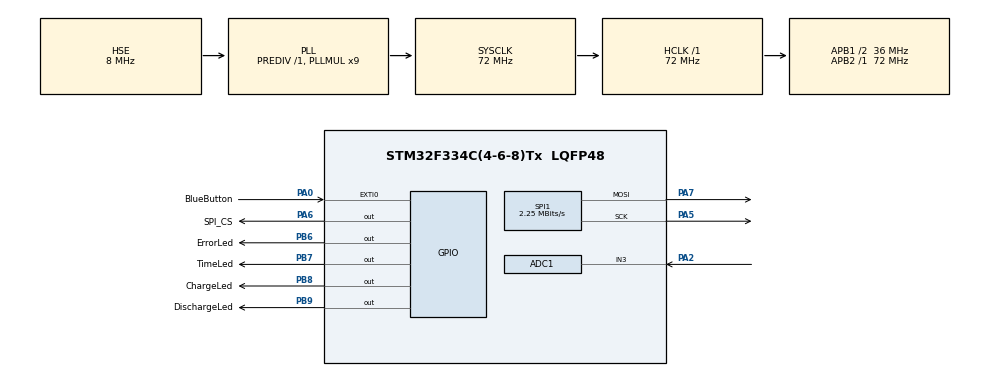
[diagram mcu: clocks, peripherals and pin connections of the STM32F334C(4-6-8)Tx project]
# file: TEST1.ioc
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ADC1.Channel-0\#ChannelRegularConversion=ADC_CHANNEL_3
ADC1.ClockPrescaler=ADC_CLOCK_ASYNC_DIV1
ADC1.ContinuousConvMode=ENABLE
ADC1.DMAContinuousRequests=DISABLE
ADC1.DataAlign=ADC_DATAALIGN_RIGHT
ADC1.DiscontinuousConvMode=DISABLE
ADC1.EOCSelection=ADC_EOC_SINGLE_CONV
ADC1.EnableAnalogWatchDog1=false
ADC1.EnableAnalogWatchDog2=false
ADC1.EnableAnalogWatchDog3=false
ADC1.EnableInjectedConversion=ENABLE
ADC1.EnableRegularConversion=ENABLE
ADC1.ExternalTrigConv=ADC_SOFTWARE_START
ADC1.ExternalTrigConvEdge=ADC_EXTERNALTRIGCONVEDGE_NONE
ADC1.InjNumberOfConversion=0
ADC1.LowPowerAutoWait=DISABLE
ADC1.NbrOfConversion=1
ADC1.NbrOfConversionFlag=1
ADC1.Offset-0\#ChannelRegularConversion=0
ADC1.OffsetNumber-0\#ChannelRegularConversion=ADC_OFFSET_NONE
ADC1.Overrun=ADC_OVR_DATA_OVERWRITTEN
ADC1.Rank-0\#ChannelRegularConversion=1
ADC1.Resolution=ADC_RESOLUTION_12B
ADC1.SamplingTime-0\#ChannelRegularConversion=ADC_SAMPLETIME_1CYCLE_5
ADC1.ScanConvMode=ADC_SCAN_DISABLE
ADC1.SubFamily=STM32F334x8
ADC1.master=1
Mcu.Family=STM32F3
Mcu.Name=STM32F334C(4-6-8)Tx
Mcu.Package=LQFP48
NVIC.PriorityGroup=NVIC_PRIORITYGROUP_2
PA0.GPIO_Label=BlueButton
PA0.GPIO_ModeDefaultEXTI=GPIO_MODE_IT_RISING
PA0.GPIO_PuPd=GPIO_NOPULL
PA0.Signal=GPXTI0
PA10.GPIO_Mode=GPIO_MODE_AF_PP
PA10.GPIO_ModeDefaultPP=GPIO_MODE_AF_PP
PA10.GPIO_PuPd=GPIO_NOPULL
PA10.GPIO_Speed=GPIO_SPEED_FREQ_LOW
PA10.GPIO_Speed_High_Default=GPIO_SPEED_FREQ_HIGH
PA10.Signal=HRTIM1_CHB1
PA11.GPIO_Mode=GPIO_MODE_AF_PP
PA11.GPIO_ModeDefaultPP=GPIO_MODE_AF_PP
PA11.GPIO_PuPd=GPIO_NOPULL
PA11.GPIO_Speed=GPIO_SPEED_FREQ_LOW
PA11.GPIO_Speed_High_Default=GPIO_SPEED_FREQ_HIGH
PA11.Signal=HRTIM1_CHB2
PA13.Mode=Serial_Wire
PA13.Signal=SYS_JTMS-SWDIO
PA14.Mode=Serial_Wire
PA14.Signal=SYS_JTCK-SWCLK
PA2.Mode=IN3-Single-Ended
PA2.Signal=ADC1_IN3
PA3.GPIO_Mode=GPIO_MODE_ANALOG
PA3.GPIO_PuPd=GPIO_NOPULL
PA3.Signal=ADC1_IN4
PA5.Mode=TX_Only_Simplex_Unidirect_Master
PA5.Signal=SPI1_SCK
PA6.GPIO_Label=SPI_CS
PA6.GPIO_PuPd=GPIO_PULLUP
PA6.Signal=GPIO_Output
PA7.Mode=TX_Only_Simplex_Unidirect_Master
PA7.Signal=SPI1_MOSI
PA8.GPIO_Mode=GPIO_MODE_AF_PP
PA8.GPIO_ModeDefaultPP=GPIO_MODE_AF_PP
PA8.GPIO_PuPd=GPIO_NOPULL
PA8.GPIO_Speed=GPIO_SPEED_FREQ_LOW
PA8.GPIO_Speed_High_Default=GPIO_SPEED_FREQ_HIGH
PA8.Signal=HRTIM1_CHA1
PA9.GPIO_Mode=GPIO_MODE_AF_PP
PA9.GPIO_ModeDefaultPP=GPIO_MODE_AF_PP
PA9.GPIO_PuPd=GPIO_NOPULL
PA9.GPIO_Speed=GPIO_SPEED_FREQ_LOW
PA9.GPIO_Speed_High_Default=GPIO_SPEED_FREQ_HIGH
PA9.Signal=HRTIM1_CHA2
PB0.GPIO_Mode=GPIO_MODE_ANALOG
PB0.GPIO_PuPd=GPIO_NOPULL
PB0.Signal=ADC1_IN11
PB6.GPIO_FM6=__NULL
PB6.GPIO_Label=ErrorLed
PB6.GPIO_ModeDefaultOutputPP=GPIO_MODE_OUTPUT_PP
PB6.GPIO_PuPd=GPIO_NOPULL
PB6.GPIO_Speed=GPIO_SPEED_FREQ_LOW
PB6.PinState=GPIO_PIN_RESET
PB6.Signal=GPIO_Output
PB7.GPIO_FM7=__NULL
PB7.GPIO_Label=TimeLed
PB7.GPIO_ModeDefaultOutputPP=GPIO_MODE_OUTPUT_PP
PB7.GPIO_PuPd=GPIO_NOPULL
PB7.GPIO_Speed=GPIO_SPEED_FREQ_LOW
PB7.PinState=GPIO_PIN_RESET
PB7.Signal=GPIO_Output
PB8.GPIO_FM8=__NULL
PB8.GPIO_Label=ChargeLed
PB8.GPIO_ModeDefaultOutputPP=GPIO_MODE_OUTPUT_PP
PB8.GPIO_PuPd=GPIO_NOPULL
PB8.GPIO_Speed=GPIO_SPEED_FREQ_LOW
PB8.PinState=GPIO_PIN_RESET
PB8.Signal=GPIO_Output
PB9.GPIO_FM9=__NULL
PB9.GPIO_Label=DischargeLed
PB9.GPIO_ModeDefaultOutputPP=GPIO_MODE_OUTPUT_PP
PB9.GPIO_PuPd=GPIO_NOPULL
PB9.GPIO_Speed=GPIO_SPEED_FREQ_LOW
PB9.PinState=GPIO_PIN_RESET
PB9.Signal=GPIO_Output
PF0\ /\ OSC_IN.Mode=HSE-External-Oscillator
PF0\ /\ OSC_IN.Signal=RCC_OSC_IN
PF1\ /\ OSC_OUT.Mode=HSE-External-Oscillator
PF1\ /\ OSC_OUT.Signal=RCC_OSC_OUT
ProjectManager.HeapSize=0x200
ProjectManager.StackSize=0x400
ProjectManager.TargetToolchain=EWARM V7
RCC.AHBFreq_Value=72000000
RCC.APB1CLKDivider=RCC_HCLK_DIV2
RCC.APB1Freq_Value=36000000
RCC.APB1TimFreq_Value=72000000
RCC.APB2Freq_Value=72000000
RCC.APB2TimFreq_Value=72000000
RCC.CortexFreq_Value=72000000
RCC.HCLKFreq_Value=72000000
RCC.HSE_VALUE=8000000
RCC.HSI_VALUE=8000000
RCC.LSE_VALUE=32768
RCC.PLLMUL=RCC_PLL_MUL9
RCC.PLLSourceVirtual=RCC_PLLSOURCE_HSE
RCC.SYSCLKFreq_VALUE=72000000
RCC.SYSCLKSourceVirtual=RCC_SYSCLKSOURCE_PLLCLK
SPI1.BaudRatePrescaler=SPI_BAUDRATEPRESCALER_32
SPI1.CLKPhase=SPI_PHASE_1EDGE
SPI1.CLKPolarity=SPI_POLARITY_LOW
SPI1.CRCCalculation=SPI_CRCCALCULATION_DISABLE
SPI1.CalculateBaudRate=2.25 MBits/s
SPI1.DataSize=SPI_DATASIZE_8BIT
SPI1.Direction=SPI_DIRECTION_2LINES
SPI1.FirstBit=SPI_FIRSTBIT_MSB
SPI1.Mode=SPI_MODE_MASTER
SPI1.NSSPMode=SPI_NSS_PULSE_DISABLE
SPI1.VirtualType=VM_MASTER
VP_WWDG_VS_WWDG.Mode=WWDG_Activate
WWDG.Counter=127
WWDG.Prescaler=WWDG_PRESCALER_4
WWDG.Window=127
board=32F3348DISCOVERY

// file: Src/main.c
/**
  ******************************************************************************
  * @file           : main.c
  * @brief          : Main program body
  ******************************************************************************
  ** This notice applies to any and all portions of this file
  * that are not between comment pairs USER CODE BEGIN and
  * USER CODE END. Other portions of this file, whether
  * inserted by the user or by software development tools
  * are owned by their respective copyright owners.
  *
  * COPYRIGHT(c) 2019 STMicroelectronics
  *
  * Redistribution and use in source and binary forms, with or without modification,
  * are permitted provided that the following conditions are met:
  *   1. Redistributions of source code must retain the above copyright notice,
  *      this list of conditions and the following disclaimer.
  *   2. Redistributions in binary form must reproduce the above copyright notice,
  *      this list of conditions and the following disclaimer in the documentation
  *      and/or other materials provided with the distribution.
  *   3. Neither the name of STMicroelectronics nor the names of its contributors
  *      may be used to endorse or promote products derived from this software
  *      without specific prior written permission.
  *
  * THIS SOFTWARE IS PROVIDED BY THE COPYRIGHT HOLDERS AND CONTRIBUTORS "AS IS"
  * AND ANY EXPRESS OR IMPLIED WARRANTIES, INCLUDING, BUT NOT LIMITED TO, THE
  * IMPLIED WARRANTIES OF MERCHANTABILITY AND FITNESS FOR A PARTICULAR PURPOSE ARE
  * DISCLAIMED. IN NO EVENT SHALL THE COPYRIGHT HOLDER OR CONTRIBUTORS BE LIABLE
  * FOR ANY DIRECT, INDIRECT, INCIDENTAL, SPECIAL, EXEMPLARY, OR CONSEQUENTIAL
  * DAMAGES (INCLUDING, BUT NOT LIMITED TO, PROCUREMENT OF SUBSTITUTE GOODS OR
  * SERVICES; LOSS OF USE, DATA, OR PROFITS; OR BUSINESS INTERRUPTION) HOWEVER
  * CAUSED AND ON ANY THEORY OF LIABILITY, WHETHER IN CONTRACT, STRICT LIABILITY,
  * OR TORT (INCLUDING NEGLIGENCE OR OTHERWISE) ARISING IN ANY WAY OUT OF THE USE
  * OF THIS SOFTWARE, EVEN IF ADVISED OF THE POSSIBILITY OF SUCH DAMAGE.
  *
  ******************************************************************************
  */
#include "main.h"
#include "stm32f3xx_hal.h"

/* USER CODE BEGIN Includes */
#include "stdbool.h"
// 6. Test Watchdog Timer

/* USER CODE END Includes */

ADC_HandleTypeDef hadc1;

SPI_HandleTypeDef hspi1;

WWDG_HandleTypeDef hwwdg;

/* USER CODE BEGIN PV */
/* Private variables ---------------------------------------------------------*/
/* Private variables ---------------------------------------------------------*/
uint16_t adcValue = 0;
uint32_t i = 0;
uint8_t state = 0;
bool changing = 0;
uint8_t setValue;

/* USER CODE END PV */

void SystemClock_Config(void);
static void MX_GPIO_Init(void);
static void MX_SPI1_Init(void);
static void MX_WWDG_Init(void);
static void MX_ADC1_Init(void);

/* USER CODE BEGIN PFP */
/* Private function prototypes -----------------------------------------------*/
void SetResistor(uint8_t value);
void Checking();
/* USER CODE END PFP */

/* USER CODE BEGIN 0 */

/*************************************************************/
void Checking(void){
    SetPin(ErrorLed_GPIO_Port, ErrorLed_Pin,SetLED);
    SetPin(ChargeLed_GPIO_Port, ChargeLed_Pin,SetLED);
    SetPin(DischargeLed_GPIO_Port, DischargeLed_Pin,SetLED);
    SetPin(TimeLed_GPIO_Port, TimeLed_Pin,SetLED);

    HAL_Delay(100);
    SetPin(ErrorLed_GPIO_Port, ErrorLed_Pin,ResetLED);
    SetPin(ChargeLed_GPIO_Port, ChargeLed_Pin,ResetLED);
    SetPin(DischargeLed_GPIO_Port, DischargeLed_Pin,ResetLED);
    SetPin(TimeLed_GPIO_Port, TimeLed_Pin,ResetLED);
}

void SetResistor(uint8_t resistance){
    uint8_t value = (uint8_t)(resistance*2.55);
    char data[] = {value};
    SetPin(SPI_CS_GPIO_Port, SPI_CS_Pin, ResetIO);
    while (!(SPI1->SR & SPI_SR_TXE)); // Wait while receive buffer is not empty
	//SPI1->DR = value; // Send byte to SPI

    // Test the duration of Max Delay
    // Start timer 1, count every 1us
    HAL_SPI_Transmit(&hspi1,(uint8_t *)data, 1,5);
    // Stop timer 1, then compare with HAL_Delay(1);
    //HAL_Delay(10);
    SetPin(SPI_CS_GPIO_Port, SPI_CS_Pin, SetIO);
}

/***********************************************************/
/* USER CODE END 0 */

int main(void)
{

  /* MCU Configuration----------------------------------------------------------*/

  /* Reset of all peripherals, Initializes the Flash interface and the Systick. */
  HAL_Init();

  /* Configure the system clock */
  SystemClock_Config();

  /* Initialize all configured peripherals */
  MX_GPIO_Init();
  MX_SPI1_Init();
  MX_WWDG_Init();
  MX_ADC1_Init();
  /* USER CODE BEGIN 2 */
	SetResistor(100);

	HAL_ADC_Start(&hadc1);
	//HAL_ADC_PollForConversion(&hadc1, 100);
  /* USER CODE END 2 */

  /* Infinite loop */
  /* USER CODE BEGIN WHILE */

    Checking();    // Check Vbat
    // Sometime the complier is quite stupid that we have to delete all of output files
    // And remember to update the variables of STM studio before using
    while (1){
        // Return percentage of adc channel
        adcValue = HAL_ADC_GetValue(&hadc1);
        setValue = (uint8_t)(adcValue/409.6+1);

        SetResistor(setValue);
        HAL_Delay(200);
  /* USER CODE END WHILE */

    }

}

void SystemClock_Config(void)
{

  RCC_OscInitTypeDef RCC_OscInitStruct;
  RCC_ClkInitTypeDef RCC_ClkInitStruct;
  RCC_PeriphCLKInitTypeDef PeriphClkInit;

    /**Initializes the CPU, AHB and APB busses clocks
    */
  RCC_OscInitStruct.OscillatorType = RCC_OSCILLATORTYPE_HSE;
  RCC_OscInitStruct.HSEState = RCC_HSE_ON;
  RCC_OscInitStruct.HSEPredivValue = RCC_HSE_PREDIV_DIV1;
  RCC_OscInitStruct.HSIState = RCC_HSI_ON;
  RCC_OscInitStruct.PLL.PLLState = RCC_PLL_ON;
  RCC_OscInitStruct.PLL.PLLSource = RCC_PLLSOURCE_HSE;
  RCC_OscInitStruct.PLL.PLLMUL = RCC_PLL_MUL9;
  if (HAL_RCC_OscConfig(&RCC_OscInitStruct) != HAL_OK)
  {
    _Error_Handler(__FILE__, __LINE__);
  }

    /**Initializes the CPU, AHB and APB busses clocks
    */
  RCC_ClkInitStruct.ClockType = RCC_CLOCKTYPE_HCLK|RCC_CLOCKTYPE_SYSCLK
                              |RCC_CLOCKTYPE_PCLK1|RCC_CLOCKTYPE_PCLK2;
  RCC_ClkInitStruct.SYSCLKSource = RCC_SYSCLKSOURCE_PLLCLK;
  RCC_ClkInitStruct.AHBCLKDivider = RCC_SYSCLK_DIV1;
  RCC_ClkInitStruct.APB1CLKDivider = RCC_HCLK_DIV2;
  RCC_ClkInitStruct.APB2CLKDivider = RCC_HCLK_DIV1;

  if (HAL_RCC_ClockConfig(&RCC_ClkInitStruct, FLASH_LATENCY_2) != HAL_OK)
  {
    _Error_Handler(__FILE__, __LINE__);
  }

  PeriphClkInit.PeriphClockSelection = RCC_PERIPHCLK_ADC12;
  PeriphClkInit.Adc12ClockSelection = RCC_ADC12PLLCLK_DIV1;
  if (HAL_RCCEx_PeriphCLKConfig(&PeriphClkInit) != HAL_OK)
  {
    _Error_Handler(__FILE__, __LINE__);
  }

    /**Configure the Systick interrupt time
    */
  HAL_SYSTICK_Config(HAL_RCC_GetHCLKFreq()/1000);

    /**Configure the Systick
    */
  HAL_SYSTICK_CLKSourceConfig(SYSTICK_CLKSOURCE_HCLK);

  /* SysTick_IRQn interrupt configuration */
  HAL_NVIC_SetPriority(SysTick_IRQn, 0, 0);
}

/* ADC1 init function */
static void MX_ADC1_Init(void)
{

  ADC_MultiModeTypeDef multimode;
  ADC_ChannelConfTypeDef sConfig;

    /**Common config
    */
  hadc1.Instance = ADC1;
  hadc1.Init.ClockPrescaler = ADC_CLOCK_ASYNC_DIV1;
  hadc1.Init.Resolution = ADC_RESOLUTION_12B;
  hadc1.Init.ScanConvMode = ADC_SCAN_DISABLE;
  hadc1.Init.ContinuousConvMode = ENABLE;
  hadc1.Init.DiscontinuousConvMode = DISABLE;
  hadc1.Init.ExternalTrigConvEdge = ADC_EXTERNALTRIGCONVEDGE_NONE;
  hadc1.Init.ExternalTrigConv = ADC_SOFTWARE_START;
  hadc1.Init.DataAlign = ADC_DATAALIGN_RIGHT;
  hadc1.Init.NbrOfConversion = 1;
  hadc1.Init.DMAContinuousRequests = DISABLE;
  hadc1.Init.EOCSelection = ADC_EOC_SINGLE_CONV;
  hadc1.Init.LowPowerAutoWait = DISABLE;
  hadc1.Init.Overrun = ADC_OVR_DATA_OVERWRITTEN;
  if (HAL_ADC_Init(&hadc1) != HAL_OK)
  {
    _Error_Handler(__FILE__, __LINE__);
  }

    /**Configure the ADC multi-mode
    */
  multimode.Mode = ADC_MODE_INDEPENDENT;
  if (HAL_ADCEx_MultiModeConfigChannel(&hadc1, &multimode) != HAL_OK)
  {
    _Error_Handler(__FILE__, __LINE__);
  }

    /**Configure Regular Channel
    */
  sConfig.Channel = ADC_CHANNEL_3;
  sConfig.Rank = ADC_REGULAR_RANK_1;
  sConfig.SingleDiff = ADC_SINGLE_ENDED;
  sConfig.SamplingTime = ADC_SAMPLETIME_1CYCLE_5;
  sConfig.OffsetNumber = ADC_OFFSET_NONE;
  sConfig.Offset = 0;
  if (HAL_ADC_ConfigChannel(&hadc1, &sConfig) != HAL_OK)
  {
    _Error_Handler(__FILE__, __LINE__);
  }

}

/* SPI1 init function */
static void MX_SPI1_Init(void)
{

  /* SPI1 parameter configuration*/
  hspi1.Instance = SPI1;
  hspi1.Init.Mode = SPI_MODE_MASTER;
  hspi1.Init.Direction = SPI_DIRECTION_2LINES;
  hspi1.Init.DataSize = SPI_DATASIZE_8BIT;
  hspi1.Init.CLKPolarity = SPI_POLARITY_LOW;
  hspi1.Init.CLKPhase = SPI_PHASE_1EDGE;
  hspi1.Init.NSS = SPI_NSS_SOFT;
  hspi1.Init.BaudRatePrescaler = SPI_BAUDRATEPRESCALER_32;
  hspi1.Init.FirstBit = SPI_FIRSTBIT_MSB;
  hspi1.Init.TIMode = SPI_TIMODE_DISABLE;
  hspi1.Init.CRCCalculation = SPI_CRCCALCULATION_DISABLE;
  hspi1.Init.CRCPolynomial = 7;
  hspi1.Init.CRCLength = SPI_CRC_LENGTH_DATASIZE;
  hspi1.Init.NSSPMode = SPI_NSS_PULSE_DISABLE;
  if (HAL_SPI_Init(&hspi1) != HAL_OK)
  {
    _Error_Handler(__FILE__, __LINE__);
  }

}

/* WWDG init function */
static void MX_WWDG_Init(void)
{

  hwwdg.Instance = WWDG;
  hwwdg.Init.Prescaler = WWDG_PRESCALER_4;
  hwwdg.Init.Window = 127;
  hwwdg.Init.Counter = 127;
  hwwdg.Init.EWIMode = WWDG_EWI_DISABLE;
  if (HAL_WWDG_Init(&hwwdg) != HAL_OK)
  {
    _Error_Handler(__FILE__, __LINE__);
  }

}

/** Configure pins as
        * Analog
        * Input
        * Output
        * EVENT_OUT
        * EXTI
     PA8   ------> HRTIM1_CHA1
     PA9   ------> HRTIM1_CHA2
     PA10   ------> HRTIM1_CHB1
     PA11   ------> HRTIM1_CHB2
*/
static void MX_GPIO_Init(void)
{

  GPIO_InitTypeDef GPIO_InitStruct;

  /* GPIO Ports Clock Enable */
  __HAL_RCC_GPIOF_CLK_ENABLE();
  __HAL_RCC_GPIOA_CLK_ENABLE();
  __HAL_RCC_GPIOB_CLK_ENABLE();

  /*Configure GPIO pin Output Level */
  HAL_GPIO_WritePin(SPI_CS_GPIO_Port, SPI_CS_Pin, GPIO_PIN_RESET);

  /*Configure GPIO pin Output Level */
  HAL_GPIO_WritePin(GPIOB, ErrorLed_Pin|TimeLed_Pin|ChargeLed_Pin|DischargeLed_Pin, GPIO_PIN_RESET);

  /*Configure GPIO pin : BlueButton_Pin */
  GPIO_InitStruct.Pin = BlueButton_Pin;
  GPIO_InitStruct.Mode = GPIO_MODE_IT_RISING;
  GPIO_InitStruct.Pull = GPIO_NOPULL;
  HAL_GPIO_Init(BlueButton_GPIO_Port, &GPIO_InitStruct);

  /*Configure GPIO pin : SPI_CS_Pin */
  GPIO_InitStruct.Pin = SPI_CS_Pin;
  GPIO_InitStruct.Mode = GPIO_MODE_OUTPUT_PP;
  GPIO_InitStruct.Pull = GPIO_PULLUP;
  GPIO_InitStruct.Speed = GPIO_SPEED_FREQ_LOW;
  HAL_GPIO_Init(SPI_CS_GPIO_Port, &GPIO_InitStruct);

  /*Configure GPIO pins : PA8 PA9 PA10 PA11 */
  GPIO_InitStruct.Pin = GPIO_PIN_8|GPIO_PIN_9|GPIO_PIN_10|GPIO_PIN_11;
  GPIO_InitStruct.Mode = GPIO_MODE_AF_PP;
  GPIO_InitStruct.Pull = GPIO_NOPULL;
  GPIO_InitStruct.Speed = GPIO_SPEED_FREQ_HIGH;
  GPIO_InitStruct.Alternate = GPIO_AF13_HRTIM1;
  HAL_GPIO_Init(GPIOA, &GPIO_InitStruct);

  /*Configure GPIO pins : ErrorLed_Pin TimeLed_Pin ChargeLed_Pin DischargeLed_Pin */
  GPIO_InitStruct.Pin = ErrorLed_Pin|TimeLed_Pin|ChargeLed_Pin|DischargeLed_Pin;
  GPIO_InitStruct.Mode = GPIO_MODE_OUTPUT_PP;
  GPIO_InitStruct.Pull = GPIO_NOPULL;
  GPIO_InitStruct.Speed = GPIO_SPEED_FREQ_LOW;
  HAL_GPIO_Init(GPIOB, &GPIO_InitStruct);

}

void _Error_Handler(char *file, int line)
{
  while(1)
  {
  }
}

/************************ (C) COPYRIGHT STMicroelectronics *****END OF FILE****/
